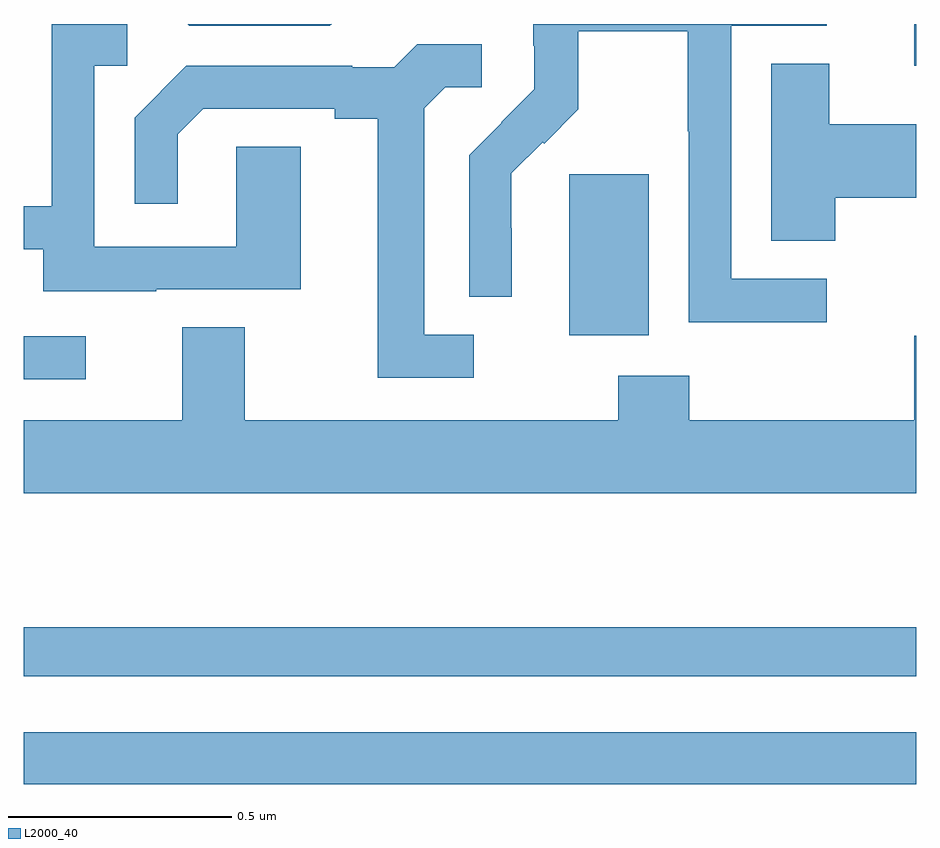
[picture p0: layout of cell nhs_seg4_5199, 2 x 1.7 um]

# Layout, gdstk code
import gdstk
lib = gdstk.Library(unit=1e-6, precision=1e-09)
def R(c, l, rs):  # rectangles x0, y0, x1, y1
    for r in rs: c.add(gdstk.rectangle(r[:2], r[2:], *l))
def P(c, l, *ps):  # polygons
    for p in ps: c.add(gdstk.Polygon(p, *l))
L2000_40 = (2000, 40)

nhs_seg4_5199 = lib.new_cell('nhs_seg4_5199')
R(nhs_seg4_5199, L2000_40, [(175,768.196,177,768.312), (175,768.438,177,768.547), (175,769.104,175.138,769.2), (176.222,769.202,176.401,769.563), (176.996,769.806,177,769.9)])
P(nhs_seg4_5199, L2000_40, [(175.69,769.9),(175.367,769.9),(175.371,769.896),(175.686,769.896)],
  [(176.8,769.329),(176.586,769.329),(176.586,769.896),(176.8,769.896),(176.8,769.9),(176.142,769.9),(176.142,769.851),(176.144,769.851),(176.144,769.754),(176.07,769.68),(176.071,769.679),(175.998,769.606),(175.998,769.288),(176.094,769.288),(176.094,769.442),(176.093,769.442),(176.093,769.565),(176.163,769.635),(176.166,769.632),(176.243,769.709),(176.243,769.884),(176.488,769.884),(176.488,769.66),(176.49,769.66),(176.49,769.231),(176.8,769.231)],
  [(175.297,769.305),(175.621,769.305),(175.621,769.625),(175.476,769.625),(175.476,769.401),(175.158,769.401),(175.158,769.806),(175.231,769.806),(175.231,769.9),(175.062,769.9),(175.062,769.491),(175,769.491),(175,769.395),(175.043,769.395),(175.043,769.301),(175.297,769.301)],
  [(176.008,769.203),(175.897,769.203),(175.897,769.711),(175.944,769.758),(176.026,769.758),(176.026,769.855),(175.882,769.855),(175.83,769.803),(175.736,769.803),(175.736,769.806),(175.364,769.806),(175.248,769.69),(175.248,769.497),(175.345,769.497),(175.345,769.653),(175.402,769.71),(175.697,769.71),(175.697,769.688),(175.793,769.688),(175.793,769.107),(176.008,769.107)],
  [(176.819,769.51),(177,769.51),(177,769.675),(176.806,769.675),(176.806,769.811),(176.675,769.811),(176.675,769.414),(176.819,769.414)],
  [(177,769.201),(176.996,769.201),(176.996,769.012),(176.492,769.012),(176.492,769.111),(176.332,769.111),(176.332,769.012),(175.495,769.012),(175.495,769.22),(175.355,769.22),(175.355,769.012),(175,769.012),(175,768.848),(177,768.848)])

lib.write_gds('nhs_seg4_5199.gds')
